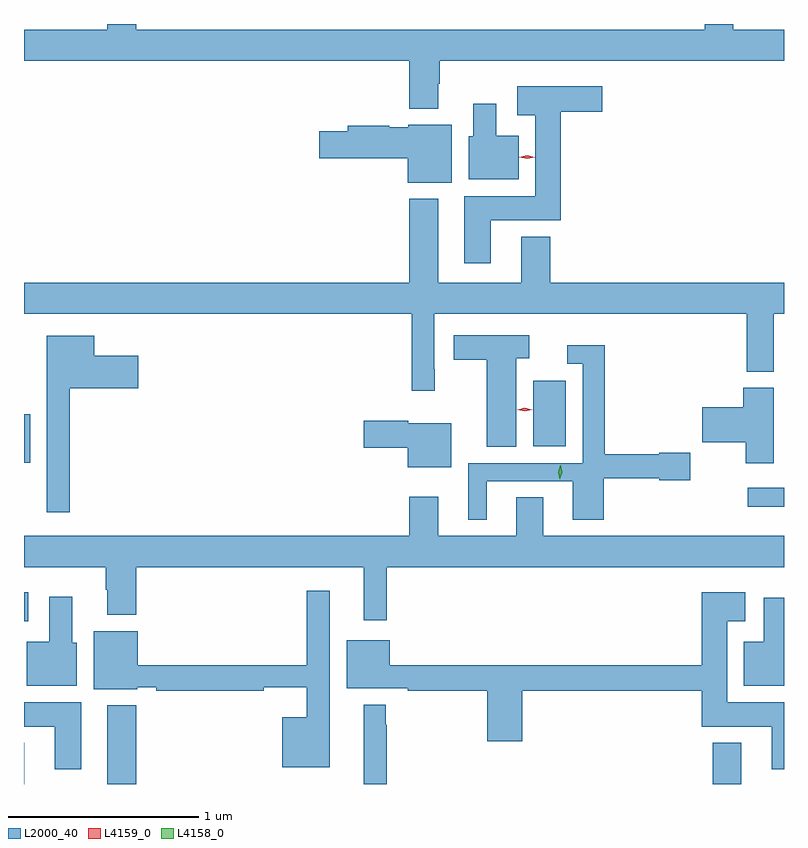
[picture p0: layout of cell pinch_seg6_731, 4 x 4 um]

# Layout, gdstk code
import gdstk
lib = gdstk.Library(unit=1e-6, precision=1e-09)
def R(c, l, rs):  # rectangles x0, y0, x1, y1
    for r in rs: c.add(gdstk.rectangle(r[:2], r[2:], *l))
def P(c, l, *ps):  # polygons
    for p in ps: c.add(gdstk.Polygon(p, *l))
L2000_40 = (2000, 40)
L4158_0 = (4158, 0)
L4159_0 = (4159, 0)

pinch_seg6_731 = lib.new_cell('pinch_seg6_731')
R(pinch_seg6_731, L2000_40, [(602.675,946.194,602.677,946.411), (603.113,946.194,603.266,946.609), (606.299,946.194,606.451,946.411), (602.675,947.051,602.698,947.203), (606.483,947.654,606.675,947.752), (602.675,947.885,602.707,948.139), (605.354,947.972,605.527,948.316)])
P(pinch_seg6_731, L2000_40, [(603.266,950.194),(603.113,950.194),(603.113,950.164),(602.675,950.164),(602.675,950),(604.703,950),(604.703,949.748),(604.855,949.748),(604.855,949.88),(604.863,949.88),(604.863,950),(606.675,950),(606.675,950.164),(606.409,950.164),(606.409,950.194),(606.257,950.194),(606.257,950.164),(603.266,950.164)],
  [(605.131,949.16),(605.501,949.16),(605.501,949.733),(605.719,949.733),(605.719,949.867),(605.271,949.867),(605.271,949.715),(605.366,949.715),(605.366,949.288),(604.991,949.288),(604.991,948.936),(605.131,948.936)],
  [(605.278,949.606),(605.161,949.606),(605.161,949.774),(605.039,949.774),(605.039,949.602),(605.015,949.602),(605.015,949.376),(605.278,949.376)],
  [(604.927,949.663),(604.698,949.663),(604.698,949.651),(604.598,949.651),(604.598,949.659),(604.379,949.659),(604.379,949.629),(604.23,949.629),(604.23,949.487),(604.694,949.487),(604.694,949.358),(604.927,949.358)],
  [(604.838,948.376),(604.833,948.376),(604.833,948.668),(606.479,948.668),(606.479,948.364),(606.622,948.364),(606.622,948.668),(606.675,948.668),(606.675,948.832),(605.444,948.832),(605.444,949.075),(605.291,949.075),(605.291,948.832),(604.855,948.832),(604.855,949.273),(604.703,949.273),(604.703,948.832),(602.675,948.832),(602.675,948.668),(604.717,948.668),(604.717,948.264),(604.838,948.264)],
  [(605.266,948.434),(605.335,948.434),(605.335,948.556),(604.938,948.556),(604.938,948.427),(605.111,948.427),(605.111,947.968),(605.266,947.968)],
  [(602.917,948.278),(603.277,948.278),(603.277,948.448),(603.046,948.448),(603.046,948.553),(602.795,948.553),(602.795,947.625),(602.917,947.625)],
  [(605.11,947.787),(605.564,947.787),(605.564,947.586),(605.726,947.586),(605.726,947.802),(606.018,947.802),(606.018,947.794),(606.181,947.794),(606.181,947.938),(606.018,947.938),(606.018,947.93),(605.732,947.93),(605.732,948.502),(605.535,948.502),(605.535,948.405),(605.616,948.405),(605.616,947.883),(605.012,947.883),(605.012,947.586),(605.11,947.586)],
  [(606.621,947.995),(606.622,947.995),(606.622,948.279),(606.461,948.279),(606.461,948.176),(606.246,948.176),(606.246,947.993),(606.473,947.993),(606.473,947.883),(606.621,947.883)],
  [(604.924,948.094),(604.698,948.094),(604.698,948.107),(604.464,948.107),(604.464,947.965),(604.694,947.965),(604.694,947.861),(604.924,947.861)],
  [(604.585,947.336),(606.675,947.336),(606.675,947.5),(605.407,947.5),(605.407,947.702),(605.267,947.702),(605.267,947.5),(604.855,947.5),(604.855,947.707),(604.703,947.707),(604.703,947.5),(602.675,947.5),(602.675,947.336),(603.106,947.336),(603.106,947.216),(603.113,947.216),(603.113,947.084),(603.266,947.084),(603.266,947.336),(604.463,947.336),(604.463,947.055),(604.585,947.055)],
  [(604.285,947.212),(604.164,947.212),(604.164,946.82),(603.274,946.82),(603.274,946.999),(603.041,946.999),(603.041,946.694),(603.27,946.694),(603.27,946.704),(603.37,946.704),(603.37,946.684),(603.938,946.684),(603.938,946.703),(604.164,946.703),(604.164,946.546),(604.034,946.546),(604.034,946.283),(604.285,946.283)],
  [(606.675,946.624),(606.376,946.624),(606.376,947.051),(606.472,947.051),(606.472,947.203),(606.242,947.203),(606.242,946.82),(604.6,946.82),(604.6,946.951),(604.373,946.951),(604.373,946.697),(604.696,946.697),(604.696,946.684),(605.114,946.684),(605.114,946.419),(605.297,946.419),(605.297,946.684),(606.242,946.684),(606.242,946.496),(606.611,946.496),(606.611,946.272),(606.675,946.272)],
  [(602.953,946.938),(602.929,946.938),(602.929,947.179),(602.807,947.179),(602.807,946.942),(602.69,946.942),(602.69,946.712),(602.953,946.712)],
  [(606.675,947.173),(606.569,947.173),(606.569,946.942),(606.464,946.942),(606.464,946.712),(606.675,946.712)],
  [(602.977,946.624),(602.675,946.624),(602.675,946.496),(602.837,946.496),(602.837,946.272),(602.977,946.272)],
  [(604.585,946.505),(604.578,946.505),(604.578,946.612),(604.463,946.612),(604.463,946.194),(604.585,946.194)])
P(pinch_seg6_731, L4158_0, [(605.495,947.799),(605.495,947.799),(605.487,947.836),(605.498,947.871),(605.498,947.871),(605.499,947.871),(605.507,947.835),(605.496,947.799)])
P(pinch_seg6_731, L4159_0, [(605.323,949.484),(605.282,949.494),(605.282,949.494),(605.282,949.494),(605.323,949.504),(605.364,949.494),(605.364,949.494),(605.364,949.494)],
  [(605.31,948.155),(605.27,948.165),(605.27,948.165),(605.27,948.165),(605.31,948.175),(605.35,948.165),(605.351,948.165),(605.35,948.165)])

lib.write_gds('pinch_seg6_731.gds')
